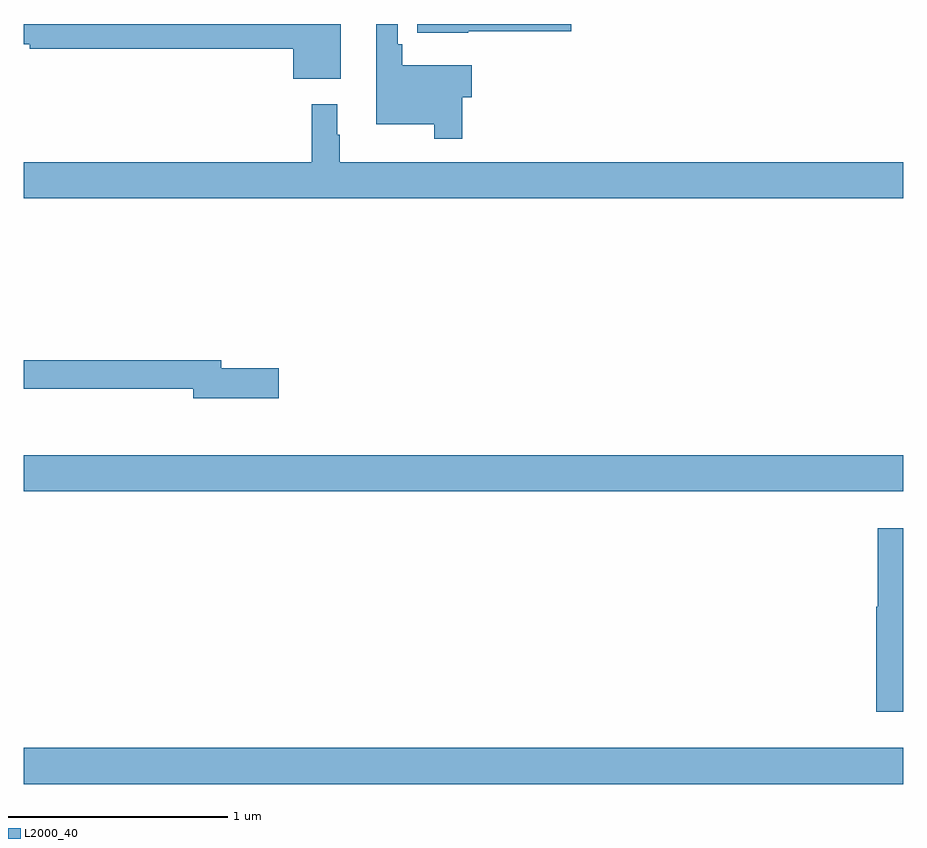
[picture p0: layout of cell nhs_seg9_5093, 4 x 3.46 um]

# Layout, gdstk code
import gdstk
lib = gdstk.Library(unit=1e-6, precision=1e-09)
def R(c, l, rs):  # rectangles x0, y0, x1, y1
    for r in rs: c.add(gdstk.rectangle(r[:2], r[2:], *l))
def P(c, l, *ps):  # polygons
    for p in ps: c.add(gdstk.Polygon(p, *l))
L2000_40 = (2000, 40)

nhs_seg9_5093 = lib.new_cell('nhs_seg9_5093')
R(nhs_seg9_5093, L2000_40, [(405,1239.044,409,1239.208), (405,1240.376,409,1240.54)])
P(nhs_seg9_5093, L2000_40, [(406.441,1242.5),(405,1242.5),(405,1242.407),(405.028,1242.407),(405.028,1242.388),(406.226,1242.388),(406.226,1242.251),(406.441,1242.251)],
  [(407.022,1242.467),(407.491,1242.467),(407.491,1242.5),(406.79,1242.5),(406.79,1242.461),(407.022,1242.461)],
  [(406.994,1242.166),(407.038,1242.166),(407.038,1242.313),(406.721,1242.313),(406.721,1242.409),(406.701,1242.409),(406.701,1242.5),(406.604,1242.5),(406.604,1242.044),(406.866,1242.044),(406.866,1241.979),(406.994,1241.979)],
  [(409,1241.872),(406.438,1241.872),(406.438,1241.996),(406.426,1241.996),(406.426,1242.136),(406.309,1242.136),(406.309,1241.872),(405,1241.872),(405,1241.708),(409,1241.708)],
  [(406.159,1240.934),(405.898,1240.934),(405.898,1240.97),(405,1240.97),(405,1240.842),(405.77,1240.842),(405.77,1240.799),(406.159,1240.799)],
  [(409,1240.207),(408.884,1240.207),(408.884,1239.849),(408.878,1239.849),(408.878,1239.372),(409,1239.372)])

lib.write_gds('nhs_seg9_5093.gds')
